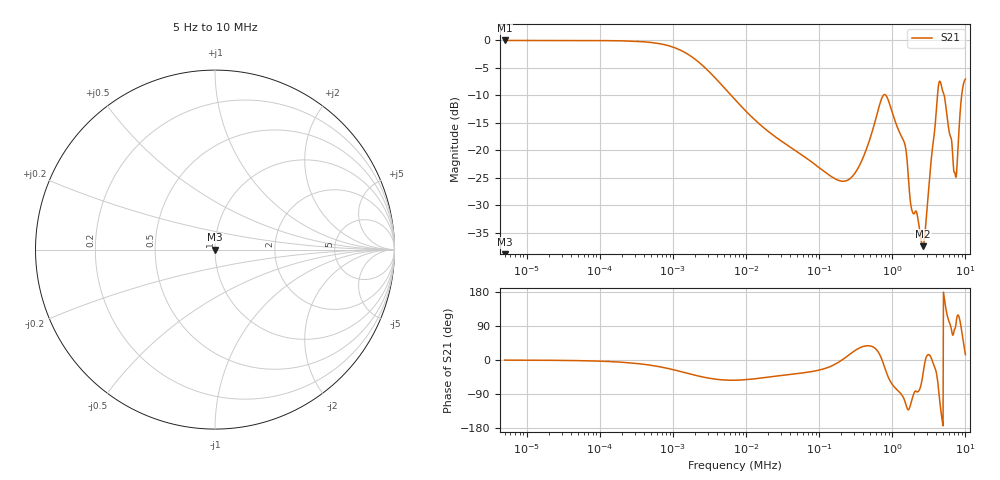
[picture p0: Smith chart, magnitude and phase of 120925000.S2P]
!Agilent Technologies,E5061B,MY49204007,A.02.12
!Date: Fri Sep 12 09:59:52 2025
!Data & Calibration Information:
!Freq	S11:SOLT2(OFF)	S21:SOLT2(OFF)	S12:SOLT2(OFF)	S22:SOLT2(OFF)
# Hz S dB R 50
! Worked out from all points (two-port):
!   1041 points, 5 Hz to 10 MHz, reference 50 ohm
!   highest |S21| = -0.04 dB at 5 Hz (marker M1); lowest = -37.4 dB at 2.634 MHz (marker M2)
!   |S21| within 3 dB of the highest: start of sweep to 1.827 kHz
!   lowest |S11| = - dB at 5 Hz (marker M3), VSWR 1.00, Z = 50 + j0 ohm
!   |S11| at or under -10 dB: start of sweep to end of sweep
!   S12 and S22 are empty: the file has one direction only
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5  -200.00 0.0  -0.04 -0.3  -200.00 0.0  -200.00 0.0
56.522  -200.00 0.0  -0.04 -1.8  -200.00 0.0  -200.00 0.0
632.897  -200.00 0.0  -0.58 -17.2  -200.00 0.0  -200.00 0.0
1929.818  -200.00 0.0  -3.26 -39.3  -200.00 0.0  -200.00 0.0
7154.49  -200.00 0.0  -10.85 -53.4  -200.00 0.0  -200.00 0.0
80111.67  -200.00 0.0  -22.15 -30.4  -200.00 0.0  -200.00 0.0
264977.8  -200.00 0.0  -25.13 15.7  -200.00 0.0  -200.00 0.0
620660.7  -200.00 0.0  -13.37 25.2  -200.00 0.0  -200.00 0.0
747988.5  -200.00 0.0  -10.07 -7.1  -200.00 0.0  -200.00 0.0
893075.1  -200.00 0.0  -11.07 -47.7  -200.00 0.0  -200.00 0.0
1458484  -200.00 0.0  -18.54 -104.3  -200.00 0.0  -200.00 0.0
1839519  -200.00 0.0  -30.67 -106.8  -200.00 0.0  -200.00 0.0
2633916  -200.00 0.0  -37.39 -36.0  -200.00 0.0  -200.00 0.0
3935896  -200.00 0.0  -14.07 -27.4  -200.00 0.0  -200.00 0.0
4378536  -200.00 0.0  -7.57 -92.9  -200.00 0.0  -200.00 0.0
4821175  -200.00 0.0  -8.90 -160.3  -200.00 0.0  -200.00 0.0
5424920  -200.00 0.0  -12.17 134.2  -200.00 0.0  -200.00 0.0
7168058  -200.00 0.0  -24.00 82.0  -200.00 0.0  -200.00 0.0
7717529  -200.00 0.0  -22.42 115.4  -200.00 0.0  -200.00 0.0
8438310  -200.00 0.0  -13.41 103.2  -200.00 0.0  -200.00 0.0
9159090  -200.00 0.0  -8.77 60.9  -200.00 0.0  -200.00 0.0
1e7  -200.00 0.0  -7.05 14.0  -200.00 0.0  -200.00 0.0
